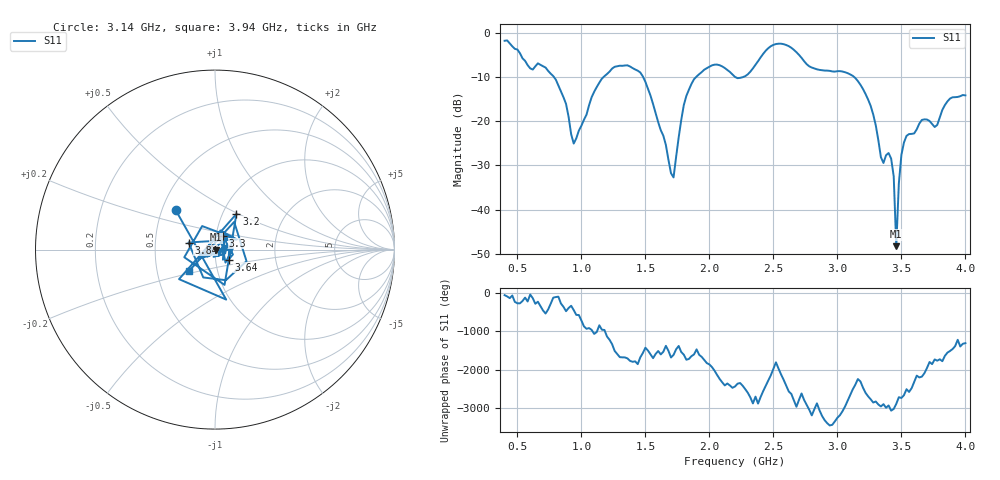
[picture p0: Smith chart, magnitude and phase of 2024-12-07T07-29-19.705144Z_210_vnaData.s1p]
!Created with skrf (http://scikit-rf.org).
# Hz S RI R 50.0
!freq ReS11 ImS11
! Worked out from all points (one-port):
!   181 points, 400 MHz to 4 GHz, reference 50 ohm
!   lowest |S11| = -48.3 dB at 3.46 GHz (marker M1), VSWR 1.01, Z = 50.4 - j0.00528 ohm
!   |S11| at or under -10 dB: 786.1 MHz to 1.172 GHz (385.9 MHz wide, 39.4 % of centre); 1.483 GHz to 1.895 GHz (412.4 MHz wide, 24.4 % of centre); 3.132 GHz to end of sweep (the widest 3 of 4)
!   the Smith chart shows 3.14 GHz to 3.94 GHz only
!   S11 on the Smith chart (normalised r, x): 3.14 GHz: 0.59, +0.29; 3.2 GHz: 1.16, +0.49; 3.3 GHz: 1.08, +0.17; 3.64 GHz: 1.16, -0.13; 3.84 GHz: 0.74, +0.06; 3.94 GHz: 0.73, -0.18
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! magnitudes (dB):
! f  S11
! 400 MHz  -1.7
! 860 MHz  -14.6
! 940 MHz  -25.0
! 1.12 GHz  -12.2
! 1.3 GHz  -7.4
! 1.48 GHz  -9.8
! 1.72 GHz  -32.7
! 1.76 GHz  -23.7
! 1.88 GHz  -10.5
! 2.2 GHz  -9.9
! 2.5 GHz  -2.7
! 2.66 GHz  -3.8
! 3.1 GHz  -9.4
! 3.14 GHz  -10.2
! 3.2 GHz  -12.7
! 3.3 GHz  -21.0
! 3.36 GHz  -29.4
! 3.42 GHz  -28.5
! 3.44 GHz  -32.5
! 3.46 GHz  -48.3
! 3.48 GHz  -34.1
! 3.5 GHz  -27.6
! 3.56 GHz  -22.9
! 3.64 GHz  -20.5
! 3.76 GHz  -21.3
! 3.84 GHz  -16.3
! 3.94 GHz  -14.5
! 4 GHz  -14.1
